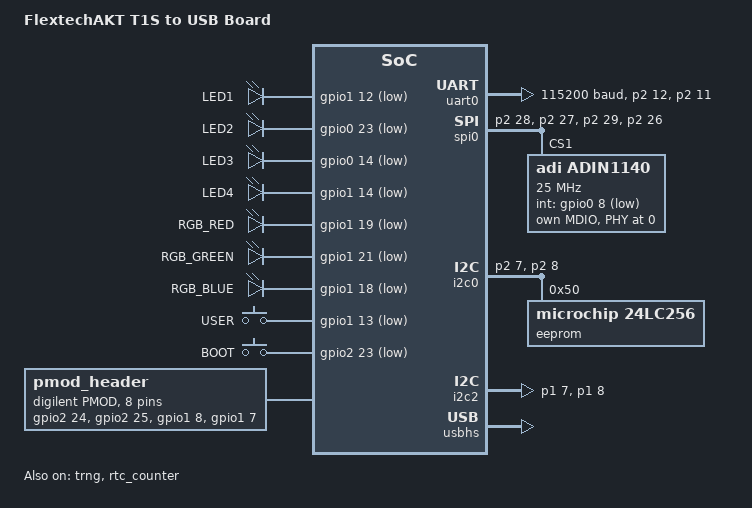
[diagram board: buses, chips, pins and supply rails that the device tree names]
/*
 * Copyright (c) 2026 Analog Devices, Inc.
 *
 * SPDX-License-Identifier: Apache-2.0
 */

/dts-v1/;

#include <adi/max32/max32690-m4.dtsi>
#include <adi/max32/max32690-pinctrl.dtsi>
#include <zephyr/dt-bindings/gpio/adi-max32-gpio.h>
#include <zephyr/dt-bindings/gpio/digilent-pmod.h>
#include <zephyr/dt-bindings/input/input-event-codes.h>
#include <zephyr/dt-bindings/led/led.h>

/ {
	model = "FlextechAKT T1S to USB Board";
	compatible = "flextechakt,t1susb";

	chosen {
		zephyr,code-partition = &code_partition;
		zephyr,console = &uart0;
		zephyr,shell-uart = &uart0;
		zephyr,sram = &m4_sram;
		zephyr,flash = &flash0;
	};

	aliases {
		led0 = &red_led;
		led1 = &green_led_1;
		led2 = &yellow_led;
		led3 = &green_led_2;
		sw0 = &user_btn;
		sw1 = &boot_btn;
		eeprom-0 = &eeprom;
	};

	soc {
		/*
		 * Concatenate SRAM0 through SRAM7 for the M4
		 */
		m4_sram: memory@20000000 {
			compatible = "mmio-sram";
			reg = <0x20000000 DT_SIZE_M(1)>;
		};
	};

	leds {
		compatible = "gpio-leds";

		red_led: red-led {
			gpios = <&gpio1 12 GPIO_ACTIVE_LOW>;
			label = "LED1";
		};

		green_led_1: green-led-1 {
			gpios = <&gpio0 23 GPIO_ACTIVE_LOW>;
			label = "LED2";
		};

		yellow_led: yellow-led {
			gpios = <&gpio0 14 GPIO_ACTIVE_LOW>;
			label = "LED3";
		};

		green_led_2: green-led-2 {
			gpios = <&gpio1 14 GPIO_ACTIVE_LOW>;
			label = "LED4";
		};

		rgb_red: rgb-red {
			gpios = <&gpio1 19 GPIO_ACTIVE_LOW>;
			label = "RGB_RED";
		};

		rgb_green: rgb-green {
			gpios = <&gpio1 21 GPIO_ACTIVE_LOW>;
			label = "RGB_GREEN";
		};

		rgb_blue: rgb-blue {
			gpios = <&gpio1 18 GPIO_ACTIVE_LOW>;
			label = "RGB_BLUE";
		};
	};

	rgb_led: rgb-led {
		compatible = "leds-group-multicolor";
		leds = <&rgb_red>, <&rgb_green>, <&rgb_blue>;
		color-mapping = <LED_COLOR_ID_RED>,
				<LED_COLOR_ID_GREEN>,
				<LED_COLOR_ID_BLUE>;
	};

	buttons {
		compatible = "gpio-keys";

		user_btn: user-btn {
			gpios = <&gpio1 13 (GPIO_PULL_UP | GPIO_ACTIVE_LOW)>;
			label = "USER";
			zephyr,code = <INPUT_KEY_0>;
		};

		boot_btn: boot-btn {
			gpios = <&gpio2 23 (GPIO_PULL_UP | GPIO_ACTIVE_LOW)>;
			label = "BOOT";
			zephyr,code = <INPUT_KEY_1>;
		};
	};

	pmod_header: pmod-header {
		compatible = "digilent,pmod";
		#gpio-cells = <2>;
		gpio-map-mask = <0xffffffff 0xffffff80>;
		gpio-map-pass-thru = <0 GPIO_DT_FLAGS_MASK>;
		gpio-map = <PMOD_I2C_INT 0 &gpio2 24 0>,
			   <PMOD_I2C_RESET 0 &gpio2 25 0>,
			   <PMOD_I2C_SCL 0 &gpio1 8 0>,
			   <PMOD_I2C_SDA 0 &gpio1 7 0>,
			   <PMOD_IO(5) 0 &gpio3 0 0>,
			   <PMOD_IO(6) 0 &gpio3 1 0>,
			   <PMOD_IO(7) 0 &gpio3 4 0>,
			   <PMOD_IO(8) 0 &gpio0 10 0>;
	};
};

&clk_ipo {
	status = "okay";
};

&clk_ibro {
	status = "okay";
};

&trng {
	status = "okay";
};

&dma0 {
	status = "okay";
};

&rtc_counter {
	status = "okay";
};

&gpio0 {
	status = "okay";
};

&gpio1 {
	status = "okay";
};

&gpio2 {
	status = "okay";
};

&gpio3 {
	status = "okay";
};

&uart0 {
	clock-source = <ADI_MAX32_PRPH_CLK_SRC_IBRO>;
	pinctrl-0 = <&uart0a_tx_p2_12 &uart0a_rx_p2_11>;
	pinctrl-names = "default";
	current-speed = <115200>;
	data-bits = <8>;
	parity = "none";
	status = "okay";
};

&spi0b_ss1_p2_26 {
	power-source = <MAX32_VSEL_VDDIOH>;
};

&spi0b_miso_p2_27 {
	power-source = <MAX32_VSEL_VDDIOH>;
};

&spi0b_mosi_p2_28 {
	power-source = <MAX32_VSEL_VDDIOH>;
};

&spi0b_sck_p2_29 {
	power-source = <MAX32_VSEL_VDDIOH>;
};

&spi0 {
	pinctrl-0 = <&spi0b_mosi_p2_28 &spi0b_miso_p2_27
		     &spi0b_sck_p2_29 &spi0b_ss1_p2_26>;
	pinctrl-names = "default";
	status = "okay";

	dmas = <&dma0 1 MAX32_DMA_SLOT_SPI0_TX>, <&dma0 2 MAX32_DMA_SLOT_SPI0_RX>;
	dma-names = "tx", "rx";

	adin1140: adin1140@1 {
		compatible = "adi,adin1140";
		reg = <0x1>;
		spi-max-frequency = <DT_FREQ_M(25)>;
		int-gpios = <&gpio0 8 (GPIO_ACTIVE_LOW | MAX32_GPIO_VSEL_VDDIOH)>;

		local-mac-address = [00 e0 22 fe da d0];
		phy-handle = <&adin1140_phy>;
		status = "okay";

		mdio {
			compatible = "adi,adin1140-mdio";
			#address-cells = <1>;
			#size-cells = <0>;

			adin1140_phy: ethernet-phy@0 {
				reg = <0x0>;
				compatible = "adi,adin1140-phy";
				plca-enable;
				plca-node-id = <0>;
				plca-node-count = <5>;
				plca-burst-count = <0>;
				plca-burst-timer = <0x60>;
				plca-to-timer = <0x20>;
			};
		};
	};
};

&i2c0a_sda_p2_7 {
	power-source = <MAX32_VSEL_VDDIOH>;
};

&i2c0a_scl_p2_8 {
	power-source = <MAX32_VSEL_VDDIOH>;
};

qwiic_i2c: &i2c0 {
	status = "okay";
	pinctrl-0 = <&i2c0a_sda_p2_7 &i2c0a_scl_p2_8>;
	pinctrl-names = "default";

	eeprom: eeprom@50 {
		compatible = "microchip,24lc256", "atmel,at24";
		reg = <0x50>;
		size = <DT_SIZE_K(32)>;
		pagesize = <64>;
		address-width = <16>;
		timeout = <5>;
	};
};

&i2c2c_sda_p1_7 {
	power-source = <MAX32_VSEL_VDDIOH>;
};

&i2c2c_scl_p1_8 {
	power-source = <MAX32_VSEL_VDDIOH>;
};

pmod_i2c: &i2c2 {
	pinctrl-0 = <&i2c2c_sda_p1_7 &i2c2c_scl_p1_8>;
	pinctrl-names = "default";
	status = "okay";
};

zephyr_udc0: &usbhs {
	status = "okay";
};

&flash0 {
	partitions {
		#address-cells = <1>;
		#size-cells = <1>;
		ranges;

		code_partition: partition@0 {
			compatible = "zephyr,mapped-partition";
			label = "image-m4";
			reg = <0x0 DT_SIZE_K(3008)>;
		};

		storage_partition: partition@2f0000 {
			compatible = "zephyr,mapped-partition";
			label = "storage";
			reg = <0x2f0000 DT_SIZE_K(64)>;
		};
	};
};
